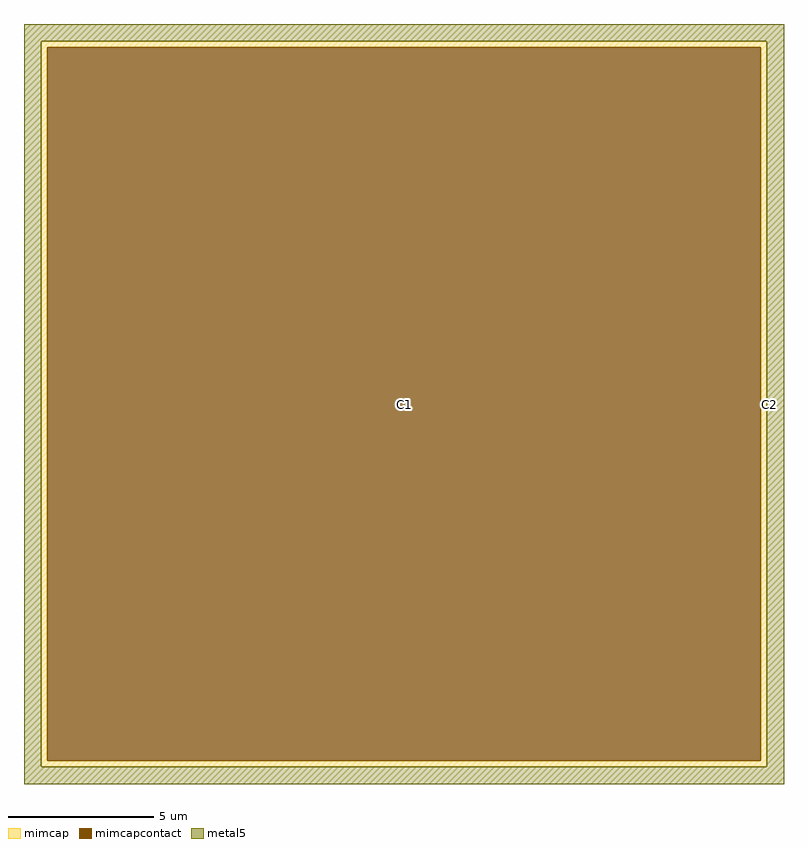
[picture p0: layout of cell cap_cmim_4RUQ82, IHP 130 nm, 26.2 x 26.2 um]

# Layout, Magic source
magic
tech ihp-sg13g2
<< metal5 >>
rect -1310 1250 1310 1310
rect -1310 -1250 -1250 1250
rect 1250 -1250 1310 1250
rect -1310 -1310 1310 -1250
<< mimcap >>
rect -1250 1230 1250 1250
rect -1250 -1230 -1230 1230
rect 1230 -1230 1250 1230
rect -1250 -1250 1250 -1230
<< mimcapcontact >>
rect -1230 -1230 1230 1230
<< labels >>
rlabel mimcapcontact 0 0 0 0 0 C1
port 1 nsew
rlabel metal5 1260 0 1260 0 0 C2
port 2 nsew
<< properties >>
string FIXED_BBOX -1310 -1310 1310 1310
string gencell cap_cmim
string library sg13g2
string parameters w 25 l 25 val 956.5 carea 1.50 cperi 0.19 class capacitor compatible {cap_cmim cap_rfcmim} nx 1 ny 1 dummy 0 square 0 lmin 2.00 wmin 2.00 lmax 30.0 wmax 30.0 dc 0 tabwidth 1.0 upcontact 0 bconnect 1 tconnect 1 ccov 100 doports 1
<< end >>
